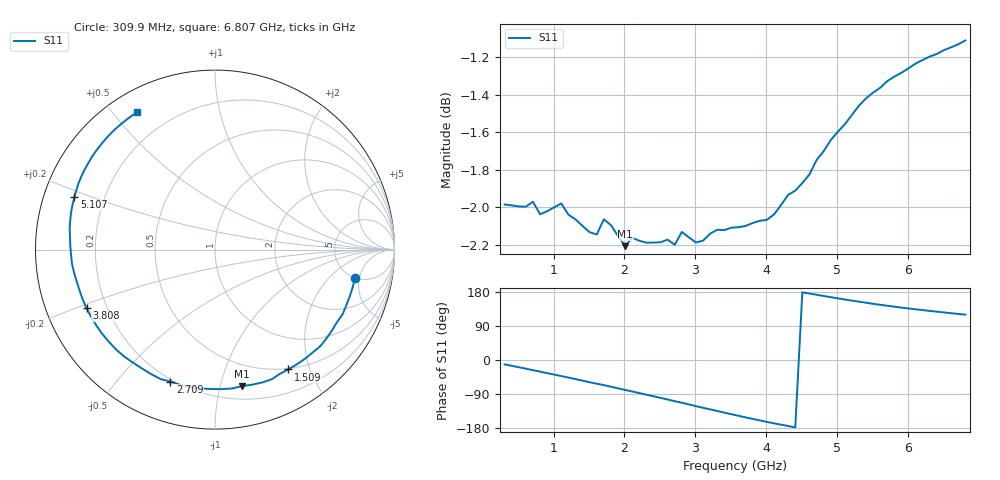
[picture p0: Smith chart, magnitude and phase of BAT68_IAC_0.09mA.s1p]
! Infineon Technologies  Discrete & RF Semiconductors
! BAT68
! IAC = 0.09 mA
! One-Port S-Parameters
# Hz  S  MA  R  50
!f  S11
!Hz  Mag  Ang
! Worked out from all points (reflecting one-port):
!   66 points, 309.9 MHz to 6.807 GHz, reference 50 ohm
!   lowest |S11| = -2.2 dB at 2.009 GHz (marker M1), VSWR 7.91, Z = 15.3 - j58.3 ohm
!   phase of S11 starts at -12 deg and turns -229 deg over the sweep
!   S11 on the Smith chart (normalised r, x): 309.9 MHz: 4.94, -4.31; 1.509 GHz: 0.49, -1.68; 2.709 GHz: 0.19, -0.70; 3.808 GHz: 0.12, -0.21; 5.107 GHz: 0.09, +0.18; 6.807 GHz: 0.09, +0.58
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3.0985e8  0.7957 -11.6
5.0975e8  0.7947 -19.1
7.0965e8  0.797 -26.8
1.0095e9  0.7943 -38.5
1.2094e9  0.7907 -46.3
1.50925e9  0.7822 -58.6
1.70915e9  0.7885 -66.3
2.009e9  0.7755 -79.0
2.2089e9  0.7781 -87.3
2.4088e9  0.7773 -95.8
2.6087e9  0.7787 -104.3
2.70865e9  0.7762 -108.7
2.8086e9  0.7823 -112.8
3.0085e9  0.7773 -121.8
3.2084e9  0.7816 -130.3
3.4083e9  0.7833 -138.9
3.6082e9  0.7847 -147.2
3.8081e9  0.7867 -155.4
4.10795e9  0.7908 -167.1
4.4078e9  0.8025 -177.9
4.70765e9  0.8177 172.2
4.90755e9  0.8278 165.9
5.10745e9  0.8359 159.6
5.2074e9  0.8407 156.7
5.6072e9  0.8549 145.6
6.007e9  0.8652 136.0
6.4068e9  0.8728 127.4
6.8066e9  0.8801 119.7
